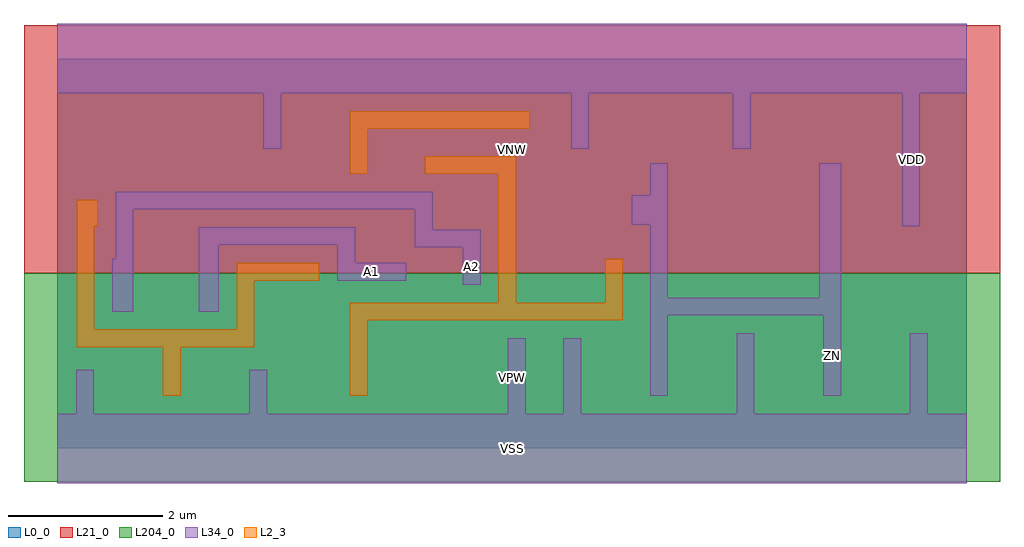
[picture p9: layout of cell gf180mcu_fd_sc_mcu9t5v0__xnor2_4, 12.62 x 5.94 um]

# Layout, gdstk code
import gdstk
lib = gdstk.Library(unit=1e-6, precision=1e-09)
def R(c, l, rs):  # rectangles x0, y0, x1, y1
    for r in rs: c.add(gdstk.rectangle(r[:2], r[2:], *l))
L0_0 = (0, 0)
L2_3 = (2, 3)
L21_0 = (21, 0)
L34_0 = (34, 0)
L204_0 = (204, 0)

gf180mcu_fd_sc_mcu9t5v0_ = lib.new_cell('gf180mcu_fd_sc_mcu9t5v0__xnor2_4')
R(gf180mcu_fd_sc_mcu9t5v0_, L0_0, [(0,0,11.76,5.04)])
R(gf180mcu_fd_sc_mcu9t5v0_, L2_3, [(1.365,0.68,1.595,1.31), (3.785,0.68,4.015,1.655), (0.25,1.31,2.55,1.54), (0.25,1.54,0.48,2.875), (2.32,1.54,2.55,2.17), (3.785,1.655,7.315,1.885), (5.705,1.885,5.935,3.55), (7.085,1.885,7.315,2.455), (2.32,2.17,3.39,2.4), (0.25,2.875,0.525,3.215), (3.785,3.55,4.015,4.13), (4.75,3.55,5.935,3.78), (3.785,4.13,6.11,4.36)])
R(gf180mcu_fd_sc_mcu9t5v0_, L21_0, [(-0.43,2.265,12.19,5.47)])
R(gf180mcu_fd_sc_mcu9t5v0_, L34_0, [(0,-0.45,11.76,0.45), (0.245,0.45,0.475,1.02), (2.485,0.45,2.715,1.02), (5.825,0.45,6.055,1.425), (6.545,0.45,6.775,1.425), (8.785,0.45,9.015,1.49), (11.025,0.45,11.255,1.49), (7.665,0.68,7.895,1.72), (9.905,0.68,10.135,1.72), (7.665,1.72,10.135,1.95), (0.71,1.77,0.985,2.455), (1.83,1.77,2.09,2.63), (7.665,1.95,7.895,2.89), (9.855,1.95,10.135,3.685), (5.245,2.115,5.475,2.6), (3.62,2.17,4.51,2.4), (3.62,2.4,3.85,2.63), (0.755,2.455,0.985,3.09), (4.625,2.6,5.475,2.83), (1.83,2.63,3.85,2.86), (4.625,2.83,4.855,3.09), (10.925,2.875,11.155,4.59), (7.43,2.89,7.895,3.27), (0.755,3.09,4.855,3.32), (7.665,3.27,7.895,3.685), (2.665,3.875,2.895,4.59), (6.645,3.875,6.875,4.59), (8.735,3.875,8.965,4.59), (0,4.59,11.76,5.49)])
R(gf180mcu_fd_sc_mcu9t5v0_, L204_0, [(-0.43,-0.43,12.19,2.265)])
gf180mcu_fd_sc_mcu9t5v0_.add(gdstk.Label('A1', (4.065,2.285), layer=34, texttype=10))
gf180mcu_fd_sc_mcu9t5v0_.add(gdstk.Label('A2', (5.36,2.357), layer=34, texttype=10))
gf180mcu_fd_sc_mcu9t5v0_.add(gdstk.Label('ZN', (10.02,1.2), layer=34, texttype=10))
gf180mcu_fd_sc_mcu9t5v0_.add(gdstk.Label('VDD', (11.04,3.732), layer=34, texttype=10))
gf180mcu_fd_sc_mcu9t5v0_.add(gdstk.Label('VSS', (5.88,0), layer=34, texttype=10))
gf180mcu_fd_sc_mcu9t5v0_.add(gdstk.Label('VNW', (5.88,3.867), layer=3, texttype=1))
gf180mcu_fd_sc_mcu9t5v0_.add(gdstk.Label('VPW', (5.88,0.917), layer=4, texttype=1))

lib.write_gds('gf180mcu_fd_sc_mcu9t5v0__xnor2_4.gds')
